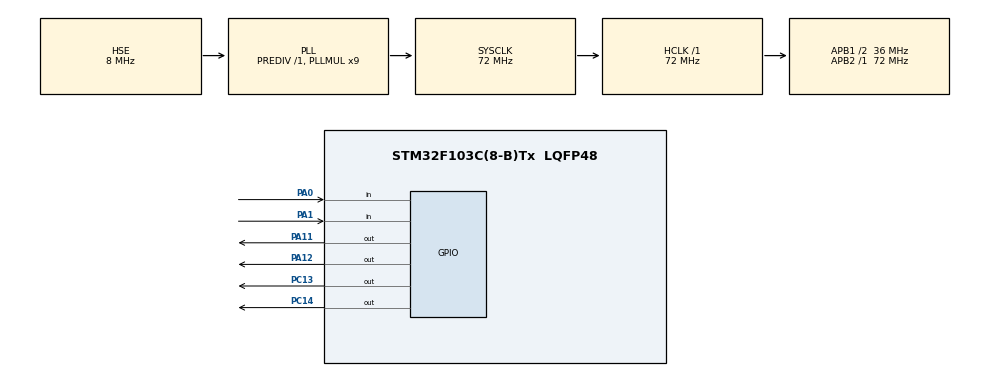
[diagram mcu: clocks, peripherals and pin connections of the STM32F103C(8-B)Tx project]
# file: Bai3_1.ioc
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Mcu.Family=STM32F1
Mcu.Name=STM32F103C(8-B)Tx
Mcu.Package=LQFP48
NVIC.PriorityGroup=NVIC_PRIORITYGROUP_4
PA0-WKUP.GPIO_PuPd=GPIO_PULLUP
PA0-WKUP.Signal=GPIO_Input
PA1.GPIO_PuPd=GPIO_PULLUP
PA1.Signal=GPIO_Input
PA11.Signal=GPIO_Output
PA12.Signal=GPIO_Output
PA13.Mode=Serial_Wire
PA13.Signal=SYS_JTMS-SWDIO
PA14.Mode=Serial_Wire
PA14.Signal=SYS_JTCK-SWCLK
PC13-TAMPER-RTC.Signal=GPIO_Output
PC14-OSC32_IN.Signal=GPIO_Output
PD0-OSC_IN.Mode=HSE-External-Oscillator
PD0-OSC_IN.Signal=RCC_OSC_IN
PD1-OSC_OUT.Mode=HSE-External-Oscillator
PD1-OSC_OUT.Signal=RCC_OSC_OUT
ProjectManager.HeapSize=0x200
ProjectManager.StackSize=0x400
ProjectManager.TargetToolchain=MDK-ARM V5.32
RCC.AHBFreq_Value=72000000
RCC.APB1CLKDivider=RCC_HCLK_DIV2
RCC.APB1Freq_Value=36000000
RCC.APB1TimFreq_Value=72000000
RCC.APB2Freq_Value=72000000
RCC.APB2TimFreq_Value=72000000
RCC.HCLKFreq_Value=72000000
RCC.PLLMUL=RCC_PLL_MUL9
RCC.PLLSourceVirtual=RCC_PLLSOURCE_HSE
RCC.SYSCLKFreq_VALUE=72000000
RCC.SYSCLKSource=RCC_SYSCLKSOURCE_PLLCLK
RCC.USBFreq_Value=72000000
board=custom

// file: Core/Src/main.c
/* USER CODE BEGIN Header */
/**
  ******************************************************************************
  * @file           : main.c
  * @brief          : Main program body
  ******************************************************************************
  * @attention
  *
  * Copyright (c) 2023 STMicroelectronics.
  * All rights reserved.
  *
  * This software is licensed under terms that can be found in the LICENSE file
  * in the root directory of this software component.
  * If no LICENSE file comes with this software, it is provided AS-IS.
  *
  ******************************************************************************
  */
/* USER CODE END Header */
#include "main.h"

/* USER CODE BEGIN Includes */
#include "button.h"
/* USER CODE END Includes */

void SystemClock_Config(void);
static void MX_GPIO_Init(void);

/* USER CODE BEGIN 0 */
button_typdef button1;
button_typdef button2;

typedef enum
{
		led_off,
		led_1_1hz,
		led_2_5hz,

}ledsta;
ledsta led_status=led_off;

typedef enum
{
		led2_off,
		led2_1_1hz,
		led2_2_5hz,

}ledstaS;
ledstaS led2_status=led2_off;

void btn_pressing_callback(button_typdef *buttonx)
{	if(buttonx == &button1)
	{
	switch(led_status){
		case led_off:
			led_status = led_1_1hz;
			break;
		case led_1_1hz:
			led_status=led_2_5hz;
			break;
		case led_2_5hz:
			led_status=led_off;
			break;
	}
	}
	else if(buttonx == &button2){
			switch(led2_status){
		case led2_off:
			led2_status = led2_1_1hz;
			break;
		case led2_1_1hz:
			led2_status=led2_2_5hz;
			break;
		case led2_2_5hz:
			led2_status=led2_off;
			break;
	}
		}

}
void btn_press_short_callback()
{

}
void btn_release_callback()
{

}
void btn_press_timeout_callback()
{

}

void led1(){
		static uint32_t time_1led=0;
		if(HAL_GetTick() -time_1led >= 500){
				HAL_GPIO_TogglePin(GPIOC,GPIO_PIN_13);
				time_1led=HAL_GetTick();
		}
}
void led2(){
		static uint32_t time2led=0;
		if(HAL_GetTick() -time2led >= 100){
				HAL_GPIO_TogglePin(GPIOC,GPIO_PIN_14);
				time2led=HAL_GetTick();
		}
}
void led_o(){
		HAL_GPIO_WritePin(GPIOC,GPIO_PIN_13,1);
		HAL_GPIO_WritePin(GPIOC,GPIO_PIN_14,0);
}
void led_handle(){
		switch(led_status){
			case led_off:
				led_o();
				break;
			case led_1_1hz:
				led1();
				break;
			case led_2_5hz:
				led1();
				led2();
				break;
	}
}

void led1_2(){
		static uint32_t time_1led=0;
		if(HAL_GetTick() -time_1led >= 500){
				HAL_GPIO_TogglePin(GPIOA,GPIO_PIN_12);
				time_1led=HAL_GetTick();
		}
}
void led2_2(){
		static uint32_t time2led=0;
		if(HAL_GetTick() -time2led >= 100){
				HAL_GPIO_TogglePin(GPIOA,GPIO_PIN_11);
				time2led=HAL_GetTick();
		}
}
void led_o_2(){
		HAL_GPIO_WritePin(GPIOA,GPIO_PIN_11,0);
		HAL_GPIO_WritePin(GPIOA,GPIO_PIN_12,0);
}
void led_handle_2(){
		switch(led2_status){
			case led2_off:
				led_o_2();
				break;
			case led2_1_1hz:
				led1_2();
				break;
			case led2_2_5hz:
				led1_2();
				led2_2();
				break;
	}
}
/* USER CODE END 0 */

int main(void)
{

  /* MCU Configuration--------------------------------------------------------*/

  /* Reset of all peripherals, Initializes the Flash interface and the Systick. */
  HAL_Init();

  /* Configure the system clock */
  SystemClock_Config();

  /* Initialize all configured peripherals */
  MX_GPIO_Init();
  /* USER CODE BEGIN 2 */
		button_init(&button1,GPIOA,GPIO_PIN_0);
		button_init(&button2,GPIOA,GPIO_PIN_1);
  /* USER CODE END 2 */

  /* Infinite loop */
  while (1)
  {

    /* USER CODE BEGIN 3 */
		button_handle(&button1);
		button_handle(&button2);
		led_handle();
		led_handle_2();
  }
  /* USER CODE END 3 */
}

void SystemClock_Config(void)
{
  RCC_OscInitTypeDef RCC_OscInitStruct = {0};
  RCC_ClkInitTypeDef RCC_ClkInitStruct = {0};

  /** Initializes the RCC Oscillators according to the specified parameters
  * in the RCC_OscInitTypeDef structure.
  */
  RCC_OscInitStruct.OscillatorType = RCC_OSCILLATORTYPE_HSE;
  RCC_OscInitStruct.HSEState = RCC_HSE_ON;
  RCC_OscInitStruct.HSEPredivValue = RCC_HSE_PREDIV_DIV1;
  RCC_OscInitStruct.HSIState = RCC_HSI_ON;
  RCC_OscInitStruct.PLL.PLLState = RCC_PLL_ON;
  RCC_OscInitStruct.PLL.PLLSource = RCC_PLLSOURCE_HSE;
  RCC_OscInitStruct.PLL.PLLMUL = RCC_PLL_MUL9;
  if (HAL_RCC_OscConfig(&RCC_OscInitStruct) != HAL_OK)
  {
    Error_Handler();
  }

  /** Initializes the CPU, AHB and APB buses clocks
  */
  RCC_ClkInitStruct.ClockType = RCC_CLOCKTYPE_HCLK|RCC_CLOCKTYPE_SYSCLK
                              |RCC_CLOCKTYPE_PCLK1|RCC_CLOCKTYPE_PCLK2;
  RCC_ClkInitStruct.SYSCLKSource = RCC_SYSCLKSOURCE_PLLCLK;
  RCC_ClkInitStruct.AHBCLKDivider = RCC_SYSCLK_DIV1;
  RCC_ClkInitStruct.APB1CLKDivider = RCC_HCLK_DIV2;
  RCC_ClkInitStruct.APB2CLKDivider = RCC_HCLK_DIV1;

  if (HAL_RCC_ClockConfig(&RCC_ClkInitStruct, FLASH_LATENCY_2) != HAL_OK)
  {
    Error_Handler();
  }
}

static void MX_GPIO_Init(void)
{
  GPIO_InitTypeDef GPIO_InitStruct = {0};

  /* GPIO Ports Clock Enable */
  __HAL_RCC_GPIOC_CLK_ENABLE();
  __HAL_RCC_GPIOD_CLK_ENABLE();
  __HAL_RCC_GPIOA_CLK_ENABLE();

  /*Configure GPIO pin Output Level */
  HAL_GPIO_WritePin(GPIOC, GPIO_PIN_13|GPIO_PIN_14, GPIO_PIN_RESET);

  /*Configure GPIO pin Output Level */
  HAL_GPIO_WritePin(GPIOA, GPIO_PIN_11|GPIO_PIN_12, GPIO_PIN_RESET);

  /*Configure GPIO pins : PC13 PC14 */
  GPIO_InitStruct.Pin = GPIO_PIN_13|GPIO_PIN_14;
  GPIO_InitStruct.Mode = GPIO_MODE_OUTPUT_PP;
  GPIO_InitStruct.Pull = GPIO_NOPULL;
  GPIO_InitStruct.Speed = GPIO_SPEED_FREQ_LOW;
  HAL_GPIO_Init(GPIOC, &GPIO_InitStruct);

  /*Configure GPIO pins : PA0 PA1 */
  GPIO_InitStruct.Pin = GPIO_PIN_0|GPIO_PIN_1;
  GPIO_InitStruct.Mode = GPIO_MODE_INPUT;
  GPIO_InitStruct.Pull = GPIO_PULLUP;
  HAL_GPIO_Init(GPIOA, &GPIO_InitStruct);

  /*Configure GPIO pins : PA11 PA12 */
  GPIO_InitStruct.Pin = GPIO_PIN_11|GPIO_PIN_12;
  GPIO_InitStruct.Mode = GPIO_MODE_OUTPUT_PP;
  GPIO_InitStruct.Pull = GPIO_NOPULL;
  GPIO_InitStruct.Speed = GPIO_SPEED_FREQ_LOW;
  HAL_GPIO_Init(GPIOA, &GPIO_InitStruct);

}

void Error_Handler(void)
{
  __disable_irq();
  while (1)
  {
  }
}
